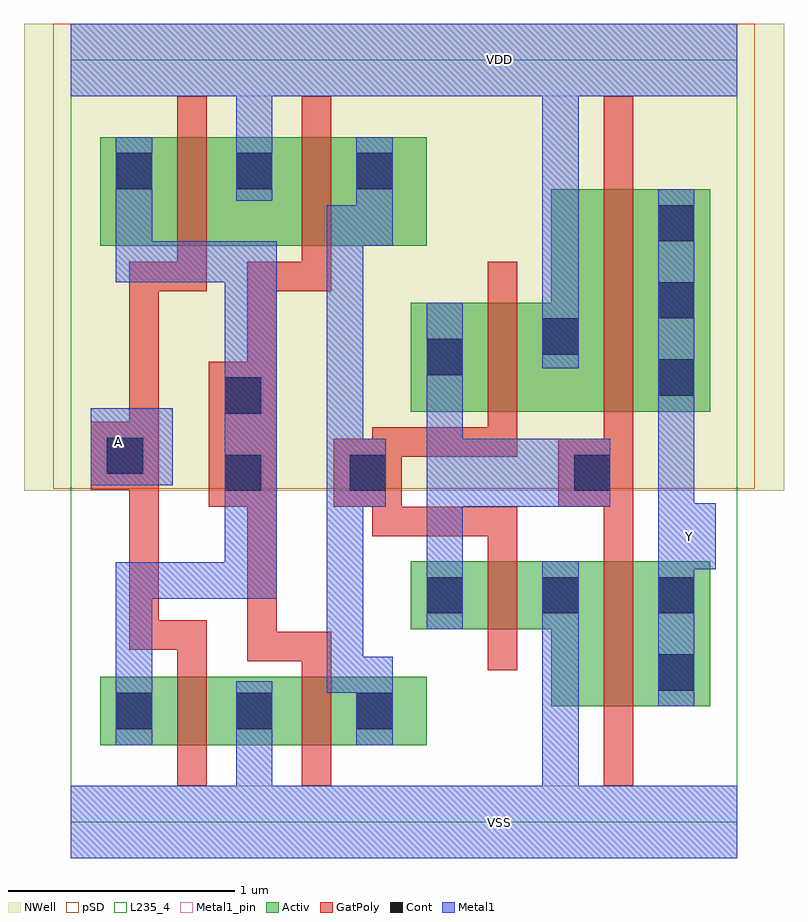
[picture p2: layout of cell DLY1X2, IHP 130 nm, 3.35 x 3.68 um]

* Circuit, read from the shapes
.subckt DLY1X2 A VDD VSS Y
XM1 VSS A n1 VSUBS sg13_lv_nmos w=0.3u l=0.13u
XM2 n2 n1 VSS VSUBS sg13_lv_nmos w=0.3u l=0.13u
XM3 VSS n2 n3 VSUBS sg13_lv_nmos w=0.3u l=0.13u
XM4 Y n3 VSS VSUBS sg13_lv_nmos w=0.64u l=0.13u
XM5 VDD A n1 n4 sg13_lv_pmos w=0.48u l=0.13u
XM6 n2 n1 VDD n4 sg13_lv_pmos w=0.48u l=0.13u
XM7 VDD n2 n3 n4 sg13_lv_pmos w=0.48u l=0.13u
XM8 Y n3 VDD n4 sg13_lv_pmos w=0.98u l=0.13u
.ends

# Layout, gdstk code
import gdstk
lib = gdstk.Library(unit=1e-6, precision=1e-09)
def R(c, l, rs):  # rectangles x0, y0, x1, y1
    for r in rs: c.add(gdstk.rectangle(r[:2], r[2:], *l))
def A(c, l, x, y, w, h, nx, ny, dx, dy):  # array of equal rectangles
    R(c, l, [(x+i*dx, y+j*dy, x+i*dx+w, y+j*dy+h) for i in range(nx) for j in range(ny)])
def P(c, l, *ps):  # polygons
    for p in ps: c.add(gdstk.Polygon(p, *l))
Activ = (1, 0)
GatPoly = (5, 0)
Cont = (6, 0)
Metal1 = (8, 0)
Metal1_pin = (8, 2)
pSD = (14, 0)
NWell = (31, 0)
L235_4 = (235, 4)

dly1x2 = lib.new_cell('DLY1X2')
R(dly1x2, Activ, [(0.13,0.34,1.57,0.64), (0.13,2.54,1.57,3.02)])
P(dly1x2, Activ, [(2.12,0.51),(2.12,0.85),(1.5,0.85),(1.5,1.15),(2.82,1.15),(2.82,0.51)],
  [(1.5,1.81),(1.5,2.29),(2.12,2.29),(2.12,2.79),(2.82,2.79),(2.82,1.81)])
P(dly1x2, GatPoly, [(0.47,0.16),(0.47,0.76),(0.26,0.76),(0.26,1.465),(0.09,1.465),(0.09,1.765),(0.26,1.765),(0.26,2.47),(0.47,2.47),(0.47,3.2),(0.6,3.2),(0.6,2.34),(0.39,2.34),(0.39,0.89),(0.6,0.89),(0.6,0.16)],
  [(2.35,0.16),(2.35,1.39),(2.15,1.39),(2.15,1.69),(2.35,1.69),(2.35,3.2),(2.48,3.2),(2.48,0.16)],
  [(1.84,0.67),(1.84,1.26),(1.33,1.26),(1.33,1.39),(1.16,1.39),(1.16,1.69),(1.33,1.69),(1.33,1.74),(1.84,1.74),(1.84,2.47),(1.97,2.47),(1.97,1.61),(1.46,1.61),(1.46,1.39),(1.97,1.39),(1.97,0.67)],
  [(1.02,0.16),(1.02,0.71),(0.78,0.71),(0.78,1.39),(0.61,1.39),(0.61,2.03),(0.78,2.03),(0.78,2.47),(1.02,2.47),(1.02,3.2),(1.15,3.2),(1.15,2.34),(0.91,2.34),(0.91,0.84),(1.15,0.84),(1.15,0.16)])
A(dly1x2, Cont, 0.2, 0.41, 0.16, 0.16, 3, 2, 0.53, 2.38)
A(dly1x2, Cont, 1.57, 0.92, 0.16, 0.16, 3, 1, 0.51, 0)
A(dly1x2, Cont, 2.59, 1.88, 0.16, 0.16, 1, 3, 0, 0.34)
R(dly1x2, Cont, [(2.59,0.58,2.75,0.74), (0.68,1.46,0.84,1.62), (1.23,1.46,1.39,1.62), (2.22,1.46,2.38,1.62), (0.16,1.535,0.32,1.695), (0.68,1.8,0.84,1.96), (1.57,1.97,1.73,2.13), (2.08,2.06,2.24,2.22)])
R(dly1x2, Metal1, [(0.09,1.485,0.45,1.825)])
P(dly1x2, Metal1, [(2.59,0.51),(2.59,2.79),(2.75,2.79),(2.75,1.405),(2.845,1.405),(2.845,1.115),(2.75,1.115),(2.75,0.51)],
  [(0,-0.16),(0,0.16),(0.73,0.16),(0.73,0.62),(0.89,0.62),(0.89,0.16),(2.08,0.16),(2.08,1.15),(2.24,1.15),(2.24,0.16),(2.94,0.16),(2.94,-0.16)],
  [(2.08,2),(2.08,3.2),(0.89,3.2),(0.89,2.74),(0.73,2.74),(0.73,3.2),(0,3.2),(0,3.52),(2.94,3.52),(2.94,3.2),(2.24,3.2),(2.24,2)],
  [(1.57,0.85),(1.57,2.29),(1.73,2.29),(1.73,1.69),(2.38,1.69),(2.38,1.39),(1.73,1.39),(1.73,0.85)],
  [(1.26,0.34),(1.26,0.57),(1.13,0.57),(1.13,2.72),(1.26,2.72),(1.26,3.02),(1.42,3.02),(1.42,2.54),(1.29,2.54),(1.29,1.69),(1.39,1.69),(1.39,1.39),(1.29,1.39),(1.29,0.73),(1.42,0.73),(1.42,0.34)],
  [(0.2,0.34),(0.2,1.145),(0.68,1.145),(0.68,2.38),(0.2,2.38),(0.2,3.02),(0.36,3.02),(0.36,2.56),(0.91,2.56),(0.91,0.985),(0.36,0.985),(0.36,0.34)])
R(dly1x2, Metal1_pin, [(0,-0.16,2.94,0.16), (2.59,1.115,2.845,1.405), (0.09,1.485,0.45,1.825), (0,3.2,2.94,3.52)])
P(dly1x2, Metal1_pin, [(2.59,0.51),(2.59,2.79),(2.75,2.79),(2.75,1.405),(2.845,1.405),(2.845,1.115),(2.75,1.115),(2.75,0.51)])
R(dly1x2, pSD, [(-0.075,1.47,3.015,3.52)])
R(dly1x2, NWell, [(-0.205,1.46,3.145,3.52)])
R(dly1x2, L235_4, [(0,0,2.94,3.36)])
dly1x2.add(gdstk.Label('A', (0.21,1.68), layer=8, texttype=25))
dly1x2.add(gdstk.Label('VSS', (1.89,0), layer=8, texttype=25))
dly1x2.add(gdstk.Label('Y', (2.73,1.26), layer=8, texttype=25))
dly1x2.add(gdstk.Label('VDD', (1.89,3.36), layer=8, texttype=25))

lib.write_gds('DLY1X2.gds')
